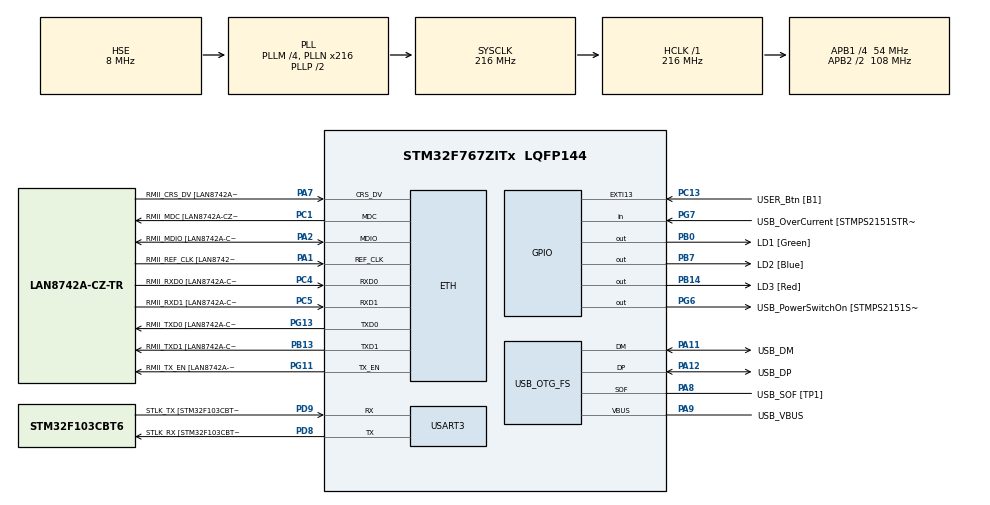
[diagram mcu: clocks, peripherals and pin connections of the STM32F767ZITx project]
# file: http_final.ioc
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ETH.MediaInterface=ETH_MEDIA_INTERFACE_RMII
ETH.PHY_Name=LAN8742A_PHY_ADDRESS
ETH.PHY_Value=0
ETH.PhyAddress=0
LWIP.LWIP_HTTPD=1
LWIP.LWIP_HTTPD_CGI=1
LWIP.Version=v2.1.2_Cube
Mcu.Family=STM32F7
Mcu.Name=STM32F767ZITx
Mcu.Package=LQFP144
NVIC.PriorityGroup=NVIC_PRIORITYGROUP_4
PA1.GPIO_Label=RMII_REF_CLK [LAN8742A-CZ-TR_REFCLK0]
PA1.Mode=RMII
PA1.Signal=ETH_REF_CLK
PA10.GPIO_Label=USB_ID
PA10.Signal=USB_OTG_FS_ID
PA11.GPIO_Label=USB_DM
PA11.Mode=Device_Only
PA11.Signal=USB_OTG_FS_DM
PA12.GPIO_Label=USB_DP
PA12.Mode=Device_Only
PA12.Signal=USB_OTG_FS_DP
PA13.GPIO_Label=TMS
PA13.Mode=Serial_Wire
PA13.Signal=SYS_JTMS-SWDIO
PA14.GPIO_Label=TCK
PA14.Mode=Serial_Wire
PA14.Signal=SYS_JTCK-SWCLK
PA2.GPIO_Label=RMII_MDIO [LAN8742A-CZ-TR_MDIO]
PA2.Mode=RMII
PA2.Signal=ETH_MDIO
PA7.GPIO_Label=RMII_CRS_DV [LAN8742A-CZ-TR_CRS_DV]
PA7.Mode=RMII
PA7.Signal=ETH_CRS_DV
PA8.GPIO_Label=USB_SOF [TP1]
PA8.Mode=Activate_SOF_FS
PA8.Signal=USB_OTG_FS_SOF
PA9.GPIO_Label=USB_VBUS
PA9.Mode=Activate_VBUS
PA9.Signal=USB_OTG_FS_VBUS
PB0.GPIO_Label=LD1 [Green]
PB0.Signal=GPIO_Output
PB13.GPIO_Label=RMII_TXD1 [LAN8742A-CZ-TR_TXD1]
PB13.Mode=RMII
PB13.Signal=ETH_TXD1
PB14.GPIO_Label=LD3 [Red]
PB14.Signal=GPIO_Output
PB3.GPIO_Label=SWO
PB3.Signal=SYS_JTDO-SWO
PB7.GPIO_Label=LD2 [Blue]
PB7.Signal=GPIO_Output
PC1.GPIO_Label=RMII_MDC [LAN8742A-CZ-TR_MDC]
PC1.Mode=RMII
PC1.Signal=ETH_MDC
PC13.GPIO_Label=USER_Btn [B1]
PC13.Signal=GPXTI13
PC14/OSC32_IN.Mode=LSE-External-Oscillator
PC14/OSC32_IN.Signal=RCC_OSC32_IN
PC15/OSC32_OUT.Mode=LSE-External-Oscillator
PC15/OSC32_OUT.Signal=RCC_OSC32_OUT
PC4.GPIO_Label=RMII_RXD0 [LAN8742A-CZ-TR_RXD0]
PC4.Mode=RMII
PC4.Signal=ETH_RXD0
PC5.GPIO_Label=RMII_RXD1 [LAN8742A-CZ-TR_RXD1]
PC5.Mode=RMII
PC5.Signal=ETH_RXD1
PD8.GPIO_Label=STLK_RX [STM32F103CBT6_PA3]
PD8.Mode=Asynchronous
PD8.Signal=USART3_TX
PD9.GPIO_Label=STLK_TX [STM32F103CBT6_PA2]
PD9.Mode=Asynchronous
PD9.Signal=USART3_RX
PG11.GPIO_Label=RMII_TX_EN [LAN8742A-CZ-TR_TXEN]
PG11.Mode=RMII
PG11.Signal=ETH_TX_EN
PG13.GPIO_Label=RMII_TXD0 [LAN8742A-CZ-TR_TXD0]
PG13.Mode=RMII
PG13.Signal=ETH_TXD0
PG6.GPIO_Label=USB_PowerSwitchOn [STMPS2151STR_EN]
PG6.Signal=GPIO_Output
PG7.GPIO_Label=USB_OverCurrent [STMPS2151STR_FAULT]
PG7.Signal=GPIO_Input
PH0/OSC_IN.GPIO_Label=MCO [STM32F103CBT6_PA8]
PH0/OSC_IN.Mode=HSE-External-Clock-Source
PH0/OSC_IN.Signal=RCC_OSC_IN
PH1/OSC_OUT.Mode=HSE-External-Clock-Source
PH1/OSC_OUT.Signal=RCC_OSC_OUT
ProjectManager.HeapSize=0x200
ProjectManager.StackSize=0x400
ProjectManager.TargetToolchain=STM32CubeIDE
RCC.48MHZClocksFreq_Value=24000000
RCC.AHBFreq_Value=216000000
RCC.APB1CLKDivider=RCC_HCLK_DIV4
RCC.APB1Freq_Value=54000000
RCC.APB1TimFreq_Value=108000000
RCC.APB2CLKDivider=RCC_HCLK_DIV2
RCC.APB2Freq_Value=108000000
RCC.APB2TimFreq_Value=216000000
RCC.CortexFreq_Value=216000000
RCC.HCLKFreq_Value=216000000
RCC.HSE_VALUE=8000000
RCC.HSI_VALUE=16000000
RCC.PLLM=4
RCC.PLLMUL=RCC_PLL_MUL9
RCC.PLLN=216
RCC.PLLQ=9
RCC.PRESCALERUSB=RCC_USBCLKSOURCE_PLL_DIV1_5
RCC.SYSCLKFreq_VALUE=216000000
RCC.SYSCLKSource=RCC_SYSCLKSOURCE_PLLCLK
RCC.SYSCLKSourceVirtual=RCC_SYSCLKSOURCE_PLLCLK
RCC.USBFreq_Value=48000000
RCC.VCOOutputFreq_Value=432000000
USART3.VirtualMode-Asynchronous=VM_ASYNC
USB_OTG_FS.VirtualMode=Device_Only
VP_LWIP_VS_Enabled.Mode=Enabled
board=NUCLEO-F767ZI

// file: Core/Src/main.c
/* USER CODE BEGIN Header */
/**
  ******************************************************************************
  * @file           : main.c
  * @brief          : Main program body
  ******************************************************************************
  * @attention
  *
  * <h2><center>&copy; Copyright (c) 2020 STMicroelectronics.
  * All rights reserved.</center></h2>
  *
  * This software component is licensed by ST under BSD 3-Clause license,
  * the "License"; You may not use this file except in compliance with the
  * License. You may obtain a copy of the License at:
  *                        opensource.org/licenses/BSD-3-Clause
  *
  ******************************************************************************
  */
/* USER CODE END Header */

#include "main.h"
#include "lwip.h"

/* USER CODE BEGIN Includes */

#include "lwip/apps/httpd.h"
/* USER CODE END Includes */

/* USER CODE BEGIN PTD */
#define led1_on HAL_GPIO_WritePin(GPIOB,GPIO_PIN_0,GPIO_PIN_SET);
#define led1_off HAL_GPIO_WritePin(GPIOB,GPIO_PIN_0,GPIO_PIN_RESET);
#define led2_on HAL_GPIO_WritePin(GPIOB,GPIO_PIN_7,GPIO_PIN_SET);
#define led2_off HAL_GPIO_WritePin(GPIOB,GPIO_PIN_7,GPIO_PIN_RESET);
#define led3_on HAL_GPIO_WritePin(GPIOB,GPIO_PIN_14,GPIO_PIN_SET);
#define led3_off HAL_GPIO_WritePin(GPIOB,GPIO_PIN_14,GPIO_PIN_RESET);

const char* LedCGIhandler(int iIndex, int iNumParams, char *pcParam[],
                      char *pcValue[]);

                      // in our HTML file <form method="get" action="/leds.cgi"> [= CGI #3 =]
                      const tCGI LedCGI = { "/leds.cgi", LedCGIhandler };

                      // [= CGI #4 =]
                      tCGI theCGItable[1];
/* USER CODE END PTD */

UART_HandleTypeDef huart3;

PCD_HandleTypeDef hpcd_USB_OTG_FS;

void SystemClock_Config(void);
static void MX_GPIO_Init(void);
static void MX_USART3_UART_Init(void);
static void MX_USB_OTG_FS_PCD_Init(void);

/* USER CODE BEGIN 0 */
// the actual function for handling CGI [= CGI #5 =]
                        const char* LedCGIhandler(int iIndex, int iNumParams, char *pcParam[],
                        char *pcValue[]) {
                        	int i=0;
                        			led1_off;
                        			led2_off;
                        			led3_off;
                            for(i=0;i<iNumParams;i++){

                            	if (strcmp(pcParam[i], "led1") == 0){

                            		led1_on;
                            		led2_on;
                            	}
                            	if (strcmp(pcParam[i], "led2") == 0){

                            		led2_on;

                            	                            	}
                            	if (strcmp(pcParam[i], "led3") == 0){

                            		led3_on;
                            	                            	}
                            }

                            // the extension .shtml for SSI to work
                            return "/index.html";

                        } // END [= CGI #5 =]

                        // function to initialize CGI [= CGI #6 =]
                        void myCGIinit(void) {
                            //add LED control CGI to the table
                            theCGItable[0] = LedCGI;
                            //give the table to the HTTP server
                            http_set_cgi_handlers(theCGItable, 1);
                        } // END [= CGI #6 =]
/* USER CODE END 0 */

int main(void)
{

  /* MCU Configuration--------------------------------------------------------*/

  /* Reset of all peripherals, Initializes the Flash interface and the Systick. */
  HAL_Init();

  /* Configure the system clock */
  SystemClock_Config();

  /* Initialize all configured peripherals */
  MX_GPIO_Init();
  MX_USART3_UART_Init();
  MX_USB_OTG_FS_PCD_Init();
  MX_LWIP_Init();
  /* USER CODE BEGIN 2 */
  httpd_init();
  myCGIinit();
  /* USER CODE END 2 */

  /* Infinite loop */
  while (1)
  {

    /* USER CODE BEGIN 3 */
	  MX_LWIP_Process();
  }
  /* USER CODE END 3 */
}

void SystemClock_Config(void)
{
  RCC_OscInitTypeDef RCC_OscInitStruct = {0};
  RCC_ClkInitTypeDef RCC_ClkInitStruct = {0};
  RCC_PeriphCLKInitTypeDef PeriphClkInitStruct = {0};

  /** Configure LSE Drive Capability
  */
  HAL_PWR_EnableBkUpAccess();
  /** Configure the main internal regulator output voltage
  */
  __HAL_RCC_PWR_CLK_ENABLE();
  __HAL_PWR_VOLTAGESCALING_CONFIG(PWR_REGULATOR_VOLTAGE_SCALE1);
  /** Initializes the CPU, AHB and APB busses clocks
  */
  RCC_OscInitStruct.OscillatorType = RCC_OSCILLATORTYPE_HSE;
  RCC_OscInitStruct.HSEState = RCC_HSE_BYPASS;
  RCC_OscInitStruct.PLL.PLLState = RCC_PLL_ON;
  RCC_OscInitStruct.PLL.PLLSource = RCC_PLLSOURCE_HSE;
  RCC_OscInitStruct.PLL.PLLM = 4;
  RCC_OscInitStruct.PLL.PLLN = 216;
  RCC_OscInitStruct.PLL.PLLP = RCC_PLLP_DIV2;
  RCC_OscInitStruct.PLL.PLLQ = 9;
  if (HAL_RCC_OscConfig(&RCC_OscInitStruct) != HAL_OK)
  {
    Error_Handler();
  }
  /** Activate the Over-Drive mode
  */
  if (HAL_PWREx_EnableOverDrive() != HAL_OK)
  {
    Error_Handler();
  }
  /** Initializes the CPU, AHB and APB busses clocks
  */
  RCC_ClkInitStruct.ClockType = RCC_CLOCKTYPE_HCLK|RCC_CLOCKTYPE_SYSCLK
                              |RCC_CLOCKTYPE_PCLK1|RCC_CLOCKTYPE_PCLK2;
  RCC_ClkInitStruct.SYSCLKSource = RCC_SYSCLKSOURCE_PLLCLK;
  RCC_ClkInitStruct.AHBCLKDivider = RCC_SYSCLK_DIV1;
  RCC_ClkInitStruct.APB1CLKDivider = RCC_HCLK_DIV4;
  RCC_ClkInitStruct.APB2CLKDivider = RCC_HCLK_DIV2;

  if (HAL_RCC_ClockConfig(&RCC_ClkInitStruct, FLASH_LATENCY_7) != HAL_OK)
  {
    Error_Handler();
  }
  PeriphClkInitStruct.PeriphClockSelection = RCC_PERIPHCLK_USART3|RCC_PERIPHCLK_CLK48;
  PeriphClkInitStruct.Usart3ClockSelection = RCC_USART3CLKSOURCE_PCLK1;
  PeriphClkInitStruct.Clk48ClockSelection = RCC_CLK48SOURCE_PLL;
  if (HAL_RCCEx_PeriphCLKConfig(&PeriphClkInitStruct) != HAL_OK)
  {
    Error_Handler();
  }
}

static void MX_USART3_UART_Init(void)
{

  huart3.Instance = USART3;
  huart3.Init.BaudRate = 115200;
  huart3.Init.WordLength = UART_WORDLENGTH_8B;
  huart3.Init.StopBits = UART_STOPBITS_1;
  huart3.Init.Parity = UART_PARITY_NONE;
  huart3.Init.Mode = UART_MODE_TX_RX;
  huart3.Init.HwFlowCtl = UART_HWCONTROL_NONE;
  huart3.Init.OverSampling = UART_OVERSAMPLING_16;
  huart3.Init.OneBitSampling = UART_ONE_BIT_SAMPLE_DISABLE;
  huart3.AdvancedInit.AdvFeatureInit = UART_ADVFEATURE_NO_INIT;
  if (HAL_UART_Init(&huart3) != HAL_OK)
  {
    Error_Handler();
  }

}

static void MX_USB_OTG_FS_PCD_Init(void)
{

  hpcd_USB_OTG_FS.Instance = USB_OTG_FS;
  hpcd_USB_OTG_FS.Init.dev_endpoints = 6;
  hpcd_USB_OTG_FS.Init.speed = PCD_SPEED_FULL;
  hpcd_USB_OTG_FS.Init.dma_enable = DISABLE;
  hpcd_USB_OTG_FS.Init.phy_itface = PCD_PHY_EMBEDDED;
  hpcd_USB_OTG_FS.Init.Sof_enable = ENABLE;
  hpcd_USB_OTG_FS.Init.low_power_enable = DISABLE;
  hpcd_USB_OTG_FS.Init.lpm_enable = DISABLE;
  hpcd_USB_OTG_FS.Init.vbus_sensing_enable = ENABLE;
  hpcd_USB_OTG_FS.Init.use_dedicated_ep1 = DISABLE;
  if (HAL_PCD_Init(&hpcd_USB_OTG_FS) != HAL_OK)
  {
    Error_Handler();
  }

}

static void MX_GPIO_Init(void)
{
  GPIO_InitTypeDef GPIO_InitStruct = {0};

  /* GPIO Ports Clock Enable */
  __HAL_RCC_GPIOC_CLK_ENABLE();
  __HAL_RCC_GPIOH_CLK_ENABLE();
  __HAL_RCC_GPIOA_CLK_ENABLE();
  __HAL_RCC_GPIOB_CLK_ENABLE();
  __HAL_RCC_GPIOD_CLK_ENABLE();
  __HAL_RCC_GPIOG_CLK_ENABLE();

  /*Configure GPIO pin Output Level */
  HAL_GPIO_WritePin(GPIOB, LD1_Pin|LD3_Pin|LD2_Pin, GPIO_PIN_RESET);

  /*Configure GPIO pin Output Level */
  HAL_GPIO_WritePin(USB_PowerSwitchOn_GPIO_Port, USB_PowerSwitchOn_Pin, GPIO_PIN_RESET);

  /*Configure GPIO pin : USER_Btn_Pin */
  GPIO_InitStruct.Pin = USER_Btn_Pin;
  GPIO_InitStruct.Mode = GPIO_MODE_IT_RISING;
  GPIO_InitStruct.Pull = GPIO_NOPULL;
  HAL_GPIO_Init(USER_Btn_GPIO_Port, &GPIO_InitStruct);

  /*Configure GPIO pins : LD1_Pin LD3_Pin LD2_Pin */
  GPIO_InitStruct.Pin = LD1_Pin|LD3_Pin|LD2_Pin;
  GPIO_InitStruct.Mode = GPIO_MODE_OUTPUT_PP;
  GPIO_InitStruct.Pull = GPIO_NOPULL;
  GPIO_InitStruct.Speed = GPIO_SPEED_FREQ_LOW;
  HAL_GPIO_Init(GPIOB, &GPIO_InitStruct);

  /*Configure GPIO pin : USB_PowerSwitchOn_Pin */
  GPIO_InitStruct.Pin = USB_PowerSwitchOn_Pin;
  GPIO_InitStruct.Mode = GPIO_MODE_OUTPUT_PP;
  GPIO_InitStruct.Pull = GPIO_NOPULL;
  GPIO_InitStruct.Speed = GPIO_SPEED_FREQ_LOW;
  HAL_GPIO_Init(USB_PowerSwitchOn_GPIO_Port, &GPIO_InitStruct);

  /*Configure GPIO pin : USB_OverCurrent_Pin */
  GPIO_InitStruct.Pin = USB_OverCurrent_Pin;
  GPIO_InitStruct.Mode = GPIO_MODE_INPUT;
  GPIO_InitStruct.Pull = GPIO_NOPULL;
  HAL_GPIO_Init(USB_OverCurrent_GPIO_Port, &GPIO_InitStruct);

}

void Error_Handler(void)
{
}

/************************ (C) COPYRIGHT STMicroelectronics *****END OF FILE****/
